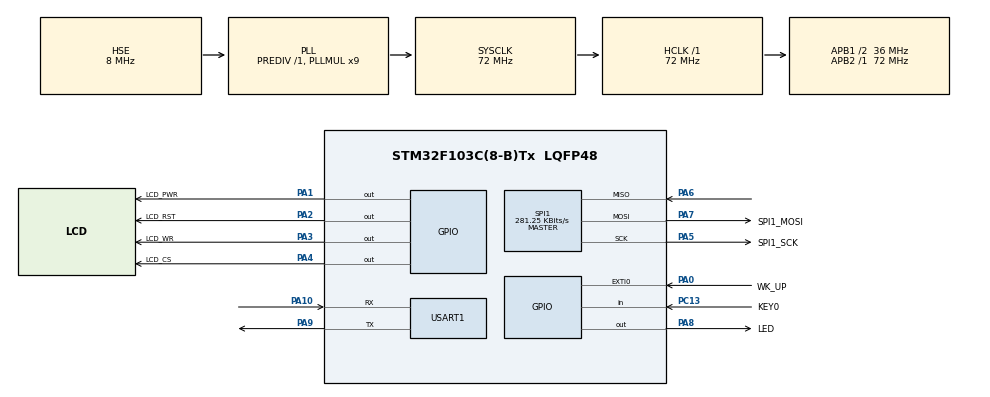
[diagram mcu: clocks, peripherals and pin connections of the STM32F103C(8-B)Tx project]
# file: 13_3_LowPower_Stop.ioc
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Mcu.Family=STM32F1
Mcu.Name=STM32F103C(8-B)Tx
Mcu.Package=LQFP48
NVIC.EXTI0_IRQn=true\:2\:2\:true\:false\:true\:true\:true\:true
NVIC.PriorityGroup=NVIC_PRIORITYGROUP_2
NVIC.USART1_IRQn=true\:2\:0\:true\:false\:true\:true\:true\:true
PA0-WKUP.GPIO_Label=WK_UP
PA0-WKUP.GPIO_PuPd=GPIO_PULLDOWN
PA0-WKUP.Signal=GPXTI0
PA1.GPIO_Label=LCD_PWR
PA1.GPIO_PuPd=GPIO_PULLUP
PA1.GPIO_Speed=GPIO_SPEED_FREQ_HIGH
PA1.PinState=GPIO_PIN_SET
PA1.Signal=GPIO_Output
PA10.Mode=Asynchronous
PA10.Signal=USART1_RX
PA13.Mode=Serial_Wire
PA13.Signal=SYS_JTMS-SWDIO
PA14.Mode=Serial_Wire
PA14.Signal=SYS_JTCK-SWCLK
PA2.GPIO_Label=LCD_RST
PA2.GPIO_PuPd=GPIO_PULLUP
PA2.GPIO_Speed=GPIO_SPEED_FREQ_HIGH
PA2.PinState=GPIO_PIN_SET
PA2.Signal=GPIO_Output
PA3.GPIO_Label=LCD_WR
PA3.GPIO_PuPd=GPIO_PULLUP
PA3.GPIO_Speed=GPIO_SPEED_FREQ_HIGH
PA3.PinState=GPIO_PIN_SET
PA3.Signal=GPIO_Output
PA4.GPIO_Label=LCD_CS
PA4.GPIO_PuPd=GPIO_PULLUP
PA4.GPIO_Speed=GPIO_SPEED_FREQ_HIGH
PA4.PinState=GPIO_PIN_SET
PA4.Signal=GPIO_Output
PA5.GPIO_Label=SPI1_SCK
PA5.Mode=Full_Duplex_Master
PA5.Signal=SPI1_SCK
PA6.Mode=Full_Duplex_Master
PA6.Signal=SPI1_MISO
PA7.GPIO_Label=SPI1_MOSI
PA7.Mode=Full_Duplex_Master
PA7.Signal=SPI1_MOSI
PA8.GPIO_Label=LED
PA8.GPIO_PuPd=GPIO_PULLUP
PA8.GPIO_Speed=GPIO_SPEED_FREQ_HIGH
PA8.PinState=GPIO_PIN_SET
PA8.Signal=GPIO_Output
PA9.Mode=Asynchronous
PA9.Signal=USART1_TX
PC13-TAMPER-RTC.GPIO_Label=KEY0
PC13-TAMPER-RTC.GPIO_PuPd=GPIO_PULLUP
PC13-TAMPER-RTC.Signal=GPIO_Input
PC14-OSC32_IN.Mode=LSE-External-Oscillator
PC14-OSC32_IN.Signal=RCC_OSC32_IN
PC15-OSC32_OUT.Mode=LSE-External-Oscillator
PC15-OSC32_OUT.Signal=RCC_OSC32_OUT
PD0-OSC_IN.Mode=HSE-External-Oscillator
PD0-OSC_IN.Signal=RCC_OSC_IN
PD1-OSC_OUT.Mode=HSE-External-Oscillator
PD1-OSC_OUT.Signal=RCC_OSC_OUT
ProjectManager.HeapSize=0x200
ProjectManager.StackSize=0x400
ProjectManager.TargetToolchain=STM32CubeIDE
RCC.AHBFreq_Value=72000000
RCC.APB1CLKDivider=RCC_HCLK_DIV2
RCC.APB1Freq_Value=36000000
RCC.APB1TimFreq_Value=72000000
RCC.APB2Freq_Value=72000000
RCC.APB2TimFreq_Value=72000000
RCC.HCLKFreq_Value=72000000
RCC.PLLMUL=RCC_PLL_MUL9
RCC.PLLSourceVirtual=RCC_PLLSOURCE_HSE
RCC.SYSCLKFreq_VALUE=72000000
RCC.SYSCLKSource=RCC_SYSCLKSOURCE_PLLCLK
RCC.USBFreq_Value=72000000
SPI1.BaudRatePrescaler=SPI_BAUDRATEPRESCALER_256
SPI1.CLKPhase=SPI_PHASE_2EDGE
SPI1.CLKPolarity=SPI_POLARITY_HIGH
SPI1.CalculateBaudRate=281.25 KBits/s
SPI1.Direction=SPI_DIRECTION_2LINES
SPI1.Mode=SPI_MODE_MASTER
SPI1.VirtualType=VM_MASTER
USART1.VirtualMode=VM_ASYNC
board=custom

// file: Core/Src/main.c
/**
 ****************************************************************************************************
 * @file        main.c
 * @author      ALIENTEK
 * @brief       LowPower_Stop code
 * @license     Copyright (C) 2020-2032, ALIENTEK
 ****************************************************************************************************
 * @attention
 *
 * platform  	: ALIENTEK STM32F103 development board
 * website		: https://www.alientek.com
 * forum		: http://www.openedv.com/forum.php
 *
 * change logs	:
 * version		data		notes
 * V1.0			20240222	the first version
 *
 ****************************************************************************************************
 */

/* USER CODE BEGIN Header */

/* USER CODE END Header */
#include "main.h"
#include "spi.h"
#include "usart.h"
#include "gpio.h"

/* USER CODE BEGIN Includes */
#include "../../BSP/LED/led.h"
#include "../../BSP/KEY/key.h"
#include "../../BSP/LCD/lcd.h"
#include "../../BSP/PWR/pwr.h"
/* USER CODE END Includes */

void SystemClock_Config(void);

/* USER CODE BEGIN 0 */

void stm32f103c8t6_show_mesg(void)
{
	/* The serial port outputs the experimental information */
	printf("\n");
	printf("********************************\r\n");
	printf("STM32F103\r\n");
	printf("STOP Test\r\n");
	printf("ATOM@ALIENTEK\r\n");
    printf("KEY0:Enter STOP MODE\r\n");
    printf("WK_UP:Exit STOP MODE\r\n");
	printf("********************************\r\n");
	printf("\r\n");
}

/* USER CODE END 0 */

int main(void)
{
  /* USER CODE BEGIN 1 */

    uint8_t key;
    uint8_t t = 0;

  /* USER CODE END 1 */

  /* MCU Configuration--------------------------------------------------------*/

  /* Reset of all peripherals, Initializes the Flash interface and the Systick. */
  HAL_Init();

  /* Configure the system clock */
  SystemClock_Config();

  /* Initialize all configured peripherals */
  MX_GPIO_Init();
  MX_USART1_UART_Init();
  MX_SPI1_Init();
  /* USER CODE BEGIN 2 */

  stm32f103c8t6_show_mesg();
  lcd_init();
  lcd_show_string(0, 5, 200, 32, 32, "STM32F103C8T6", RED);
  lcd_show_string(0, 34, 200, 24, 24, "STOP TEST", RED);
  lcd_show_string(0, 60, 200, 16, 16, "ATOM@ALIENTEK", RED);
  lcd_show_string(0, 80, 200, 16, 16, "KEY0:Enter STOP MODE",RED);
  lcd_show_string(0, 100, 200, 16, 16, "WK_UP:Exit STOP MODE",RED);

  /* USER CODE END 2 */

  /* Infinite loop */
  /* USER CODE BEGIN WHILE */
  while (1)
  {
      key = key_scan(0);

      if (key == KEY0_PRES)
      {
          lcd_show_string(0, 120, 200, 16, 16, "Enter STOP Mode...",BLUE);
          printf("Enter STOP Mode...\r\n");
          pwr_enter_stop();                              /* Enter stop mode */
          lcd_show_string(0, 120, 200, 16, 16, "Exit  STOP Mode...",BLUE);
          printf("Exit STOP Mode...\r\n");
      }

      if ((t % 20) == 0)
      {
          LED_TOGGLE();
      }

      t++;

	  HAL_Delay(10);

    /* USER CODE END WHILE */

  }
}

void SystemClock_Config(void)
{
  RCC_OscInitTypeDef RCC_OscInitStruct = {0};
  RCC_ClkInitTypeDef RCC_ClkInitStruct = {0};

  /** Initializes the RCC Oscillators according to the specified parameters
  * in the RCC_OscInitTypeDef structure.
  */
  RCC_OscInitStruct.OscillatorType = RCC_OSCILLATORTYPE_HSE;
  RCC_OscInitStruct.HSEState = RCC_HSE_ON;
  RCC_OscInitStruct.HSEPredivValue = RCC_HSE_PREDIV_DIV1;
  RCC_OscInitStruct.HSIState = RCC_HSI_ON;
  RCC_OscInitStruct.PLL.PLLState = RCC_PLL_ON;
  RCC_OscInitStruct.PLL.PLLSource = RCC_PLLSOURCE_HSE;
  RCC_OscInitStruct.PLL.PLLMUL = RCC_PLL_MUL9;
  if (HAL_RCC_OscConfig(&RCC_OscInitStruct) != HAL_OK)
  {
    Error_Handler();
  }

  /** Initializes the CPU, AHB and APB buses clocks
  */
  RCC_ClkInitStruct.ClockType = RCC_CLOCKTYPE_HCLK|RCC_CLOCKTYPE_SYSCLK
                              |RCC_CLOCKTYPE_PCLK1|RCC_CLOCKTYPE_PCLK2;
  RCC_ClkInitStruct.SYSCLKSource = RCC_SYSCLKSOURCE_PLLCLK;
  RCC_ClkInitStruct.AHBCLKDivider = RCC_SYSCLK_DIV1;
  RCC_ClkInitStruct.APB1CLKDivider = RCC_HCLK_DIV2;
  RCC_ClkInitStruct.APB2CLKDivider = RCC_HCLK_DIV1;

  if (HAL_RCC_ClockConfig(&RCC_ClkInitStruct, FLASH_LATENCY_2) != HAL_OK)
  {
    Error_Handler();
  }
}

void Error_Handler(void)
{
  __disable_irq();
  while (1)
  {
  }
}
